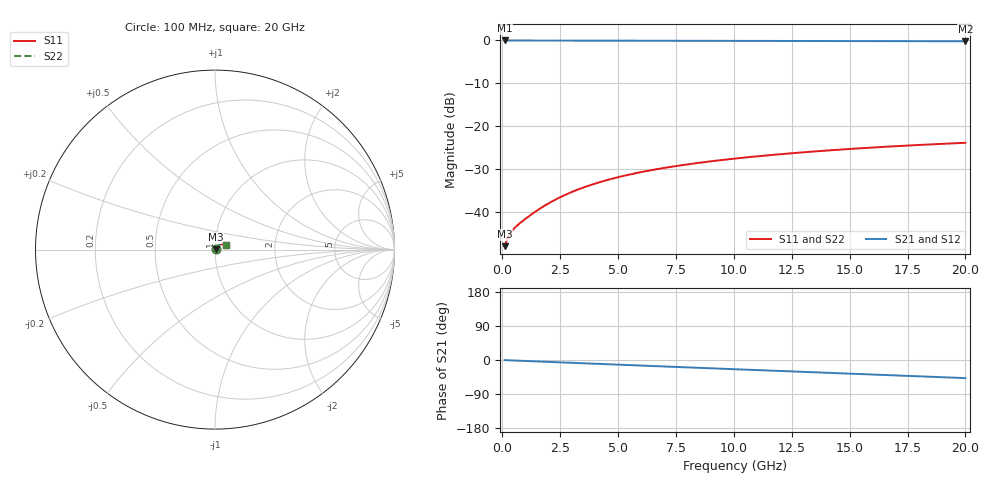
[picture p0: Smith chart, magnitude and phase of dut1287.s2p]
! Touchstone file exported from HFSS 2026.1.0
!  File:  C:/ffzhzh/LocalFiles/Ansys_Project_Files/temp_train_TMRDL_1287_1783164460_22436.aedt
!  Generated:  07:28:49 PM Jul  4, 2026
!  Design:  TMRDL
!  Project:  temp_train_TMRDL_1287_1783164460_22436
! Variables:
!  h_bsmrdl = 2um
!  h_ox = 20um
!  h_rdl = 5um
!  h_sub = 80um
!  h_tmrdl = 4.25um
!  h_tsv = 80um
!  h_via = 3um
!  l_bsmrdl = 300um
!  l_sub = 1259.79um
!  l_tmrdl = 859.79um
!  m_sub = 200um
!  pitch = 25.33um
!  r_tsv = 6um
!  s_tmrdl = 10um
!  w_bsmrdl = 18um
!  w_sub = 500um
!  w_tmrdl = 19.83um
!  x_tsv_center1 = 869.705um
!  x_tsv_center2 = 1187.705um
!  x_tsv_center3 = 2067.325um
!  x_tsv_center4 = 2385.325um
!  x_tsv_center5 = 3264.945um
!  x_tsv_center6 = 3582.945um
# GHz S MA R 50.000000
! Terminal data exported
! Port[1] = TM_RDL1_1_T1
! Port[2] = TM_RDL1_1_T2
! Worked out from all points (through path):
!   200 points, 100 MHz to 20 GHz, reference 50 ohm
!   highest |S21| = -0.03 dB at 100 MHz (marker M1); lowest = -0.2 dB at 20 GHz (marker M2)
!   group delay of S21, straight-line fit = 6.61 ps
!   lowest |S11| = -47.9 dB at 100 MHz (marker M3), VSWR 1.01, Z = 50.4 + j0.116 ohm
!   |S11| at or under -10 dB: start of sweep to end of sweep
!   |S22| runs from -47.9 to -23.8 dB; largest |S21 - S12| = 2.6e-15
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0.1  0.004044 16.5  0.9961 -0.3  0.9961 -0.3  0.004044 16.5
! Gamma 0 0 0 0
! Port Impedance 50 0 50 0
0.2  0.004774 25.1  0.9957 -0.6  0.9957 -0.6  0.004774 25.1
0.3  0.00545 29.0  0.9953 -0.8  0.9953 -0.8  0.005451 29.0
0.4  0.005997 31.4  0.9949 -1.1  0.9949 -1.1  0.005999 31.4
0.5  0.006453 33.4  0.9947 -1.3  0.9947 -1.3  0.006456 33.4
0.7  0.007252 37.2  0.9944 -1.8  0.9944 -1.8  0.007255 37.2
1.1  0.008818 43.9  0.9939 -2.8  0.9939 -2.8  0.00882 43.9
1.6  0.01094 49.6  0.9935 -4.0  0.9935 -4.0  0.01094 49.5
1.9  0.01227 51.7  0.9932 -4.8  0.9932 -4.8  0.01228 51.7
2.2  0.01363 53.1  0.9928 -5.5  0.9928 -5.5  0.01363 53.1
2.8  0.01634 54.6  0.9921 -7.0  0.9921 -7.0  0.01635 54.6
3.5  0.01943 55.0  0.9912 -8.7  0.9912 -8.7  0.01944 54.9
4.2  0.0224 54.4  0.9902 -10.4  0.9902 -10.4  0.02242 54.4
5  0.02562 53.3  0.9891 -12.3  0.9891 -12.3  0.02564 53.2
5.9  0.02902 51.7  0.9878 -14.5  0.9878 -14.5  0.02904 51.6
6.8  0.0322 49.9  0.9866 -16.6  0.9866 -16.6  0.03223 49.8
8.3  0.03706 46.9  0.9847 -20.2  0.9847 -20.2  0.03711 46.7
10.1  0.04234 43.2  0.9827 -24.5  0.9827 -24.5  0.04241 43.0
11.7  0.04664 40.0  0.9811 -28.3  0.9811 -28.3  0.04672 39.8
13.4  0.05086 36.7  0.9795 -32.3  0.9795 -32.3  0.05097 36.3
16.7  0.05819 30.1  0.9769 -40.0  0.9769 -40.0  0.05834 29.6
20  0.06433 23.4  0.9745 -47.8  0.9745 -47.8  0.06453 22.8
